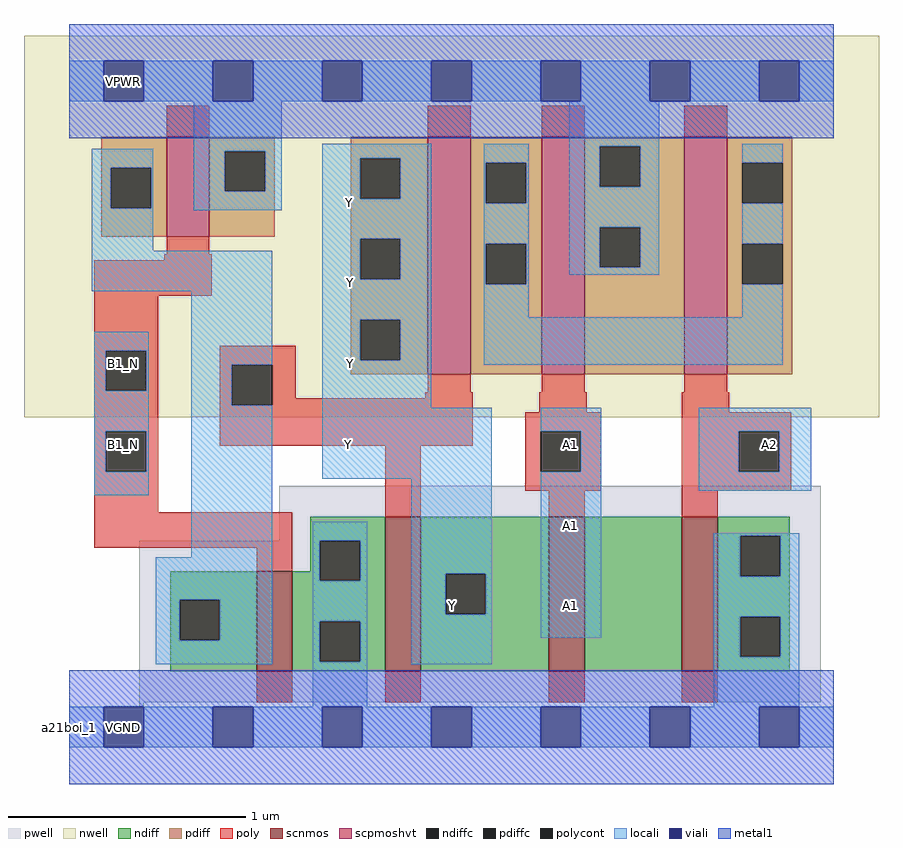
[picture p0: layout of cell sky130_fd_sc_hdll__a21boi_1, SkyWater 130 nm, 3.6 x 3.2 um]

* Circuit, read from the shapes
.subckt sky130_fd_sc_hdll__a21boi_1 A1 A2 B1_N VGND VNB VPB VPWR Y
XM1 VGND B1_N n1 VNB sky130_fd_pr__nfet_01v8 w=0.42 l=0.15
XM2 Y n1 VGND VNB sky130_fd_pr__nfet_01v8 w=0.65 l=0.15
XM3 n2 A1 Y VNB sky130_fd_pr__nfet_01v8 w=0.65 l=0.15
XM4 VGND A2 n2 VNB sky130_fd_pr__nfet_01v8 w=0.65 l=0.15
XM5 VPWR B1_N n1 VPB sky130_fd_pr__pfet_01v8_hvt w=0.42 l=0.18
XM6 n3 n1 Y VPB sky130_fd_pr__pfet_01v8_hvt w=1 l=0.18
XM7 VPWR A1 n3 VPB sky130_fd_pr__pfet_01v8_hvt w=1 l=0.18
XM8 n3 A2 VPWR VPB sky130_fd_pr__pfet_01v8_hvt w=1 l=0.18
.ends

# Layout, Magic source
magic
tech sky130A
magscale 1 2
<< nwell >>
rect -38 261 682 582
<< pwell >>
rect 177 157 633 203
rect 59 21 633 157
rect 59 17 63 21
rect 29 -17 63 17
<< scnmos >>
rect 158 47 188 131
rect 266 47 296 177
rect 404 47 434 177
rect 516 47 546 177
<< scpmoshvt >>
rect 82 413 118 497
rect 302 297 338 497
rect 398 297 434 497
rect 518 297 554 497
<< ndiff >>
rect 203 157 266 177
rect 203 131 211 157
rect 85 107 158 131
rect 85 73 93 107
rect 127 73 158 107
rect 85 47 158 73
rect 188 123 211 131
rect 245 123 266 157
rect 188 89 266 123
rect 188 55 211 89
rect 245 55 266 89
rect 188 47 266 55
rect 296 129 404 177
rect 296 95 317 129
rect 351 95 404 129
rect 296 47 404 95
rect 434 47 516 177
rect 546 161 607 177
rect 546 127 565 161
rect 599 127 607 161
rect 546 93 607 127
rect 546 59 565 93
rect 599 59 607 93
rect 546 47 607 59
<< pdiff >>
rect 27 471 82 497
rect 27 437 35 471
rect 69 437 82 471
rect 27 413 82 437
rect 118 485 173 497
rect 118 451 131 485
rect 165 451 173 485
rect 118 413 173 451
rect 237 479 302 497
rect 237 445 245 479
rect 279 445 302 479
rect 237 411 302 445
rect 237 377 245 411
rect 279 377 302 411
rect 237 343 302 377
rect 237 309 245 343
rect 279 309 302 343
rect 237 297 302 309
rect 338 475 398 497
rect 338 441 351 475
rect 385 441 398 475
rect 338 407 398 441
rect 338 373 351 407
rect 385 373 398 407
rect 338 297 398 373
rect 434 489 518 497
rect 434 455 447 489
rect 481 455 518 489
rect 434 421 518 455
rect 434 387 447 421
rect 481 387 518 421
rect 434 297 518 387
rect 554 475 609 497
rect 554 441 567 475
rect 601 441 609 475
rect 554 407 609 441
rect 554 373 567 407
rect 601 373 609 407
rect 554 297 609 373
<< ndiffc >>
rect 93 73 127 107
rect 211 123 245 157
rect 211 55 245 89
rect 317 95 351 129
rect 565 127 599 161
rect 565 59 599 93
<< pdiffc >>
rect 35 437 69 471
rect 131 451 165 485
rect 245 445 279 479
rect 245 377 279 411
rect 245 309 279 343
rect 351 441 385 475
rect 351 373 385 407
rect 447 455 481 489
rect 447 387 481 421
rect 567 441 601 475
rect 567 373 601 407
<< poly >>
rect 82 497 118 523
rect 302 497 338 523
rect 398 497 434 523
rect 518 497 554 523
rect 82 398 118 413
rect 80 393 120 398
rect 21 363 120 393
rect 21 317 75 363
rect 21 283 31 317
rect 65 283 75 317
rect 21 249 75 283
rect 21 215 31 249
rect 65 215 75 249
rect 127 305 191 321
rect 127 271 137 305
rect 171 277 191 305
rect 302 282 338 297
rect 398 282 434 297
rect 518 282 554 297
rect 300 277 340 282
rect 171 271 340 277
rect 127 237 340 271
rect 396 265 436 282
rect 516 265 556 282
rect 384 249 448 265
rect 21 181 75 215
rect 21 151 188 181
rect 266 177 296 237
rect 384 215 397 249
rect 431 215 448 249
rect 384 199 448 215
rect 516 249 608 265
rect 516 215 564 249
rect 598 215 608 249
rect 516 199 608 215
rect 404 177 434 199
rect 516 177 546 199
rect 158 131 188 151
rect 158 21 188 47
rect 266 21 296 47
rect 404 21 434 47
rect 516 21 546 47
<< polycont >>
rect 31 283 65 317
rect 31 215 65 249
rect 137 271 171 305
rect 397 215 431 249
rect 564 215 598 249
<< locali >>
rect 0 527 29 561
rect 63 527 121 561
rect 155 527 213 561
rect 247 527 305 561
rect 339 527 397 561
rect 431 527 489 561
rect 523 527 581 561
rect 615 527 644 561
rect 19 471 71 487
rect 19 437 35 471
rect 69 437 71 471
rect 19 401 71 437
rect 105 485 179 527
rect 105 451 131 485
rect 165 451 179 485
rect 105 435 179 451
rect 213 479 305 491
rect 213 445 245 479
rect 279 445 305 479
rect 213 411 305 445
rect 19 367 171 401
rect 21 317 67 333
rect 21 283 31 317
rect 65 283 67 317
rect 21 249 67 283
rect 21 215 31 249
rect 65 215 67 249
rect 21 195 67 215
rect 103 305 171 367
rect 103 271 137 305
rect 103 143 171 271
rect 213 377 245 411
rect 279 377 305 411
rect 213 343 305 377
rect 213 309 245 343
rect 279 309 305 343
rect 213 269 305 309
rect 349 475 387 491
rect 349 441 351 475
rect 385 441 387 475
rect 349 407 387 441
rect 349 373 351 407
rect 385 373 387 407
rect 421 489 497 527
rect 421 455 447 489
rect 481 455 497 489
rect 421 421 497 455
rect 421 387 447 421
rect 481 387 497 421
rect 421 381 497 387
rect 567 475 601 491
rect 567 407 601 441
rect 349 345 387 373
rect 567 345 601 373
rect 349 305 601 345
rect 213 209 356 269
rect 73 107 171 143
rect 73 73 93 107
rect 127 73 171 107
rect 73 53 171 73
rect 205 157 251 173
rect 205 123 211 157
rect 245 123 251 157
rect 205 89 251 123
rect 205 55 211 89
rect 245 55 251 89
rect 205 17 251 55
rect 288 129 356 209
rect 288 95 317 129
rect 351 95 356 129
rect 288 53 356 95
rect 397 249 448 269
rect 431 215 448 249
rect 397 75 448 215
rect 530 249 625 269
rect 530 215 564 249
rect 598 215 625 249
rect 530 199 625 215
rect 543 161 615 163
rect 543 127 565 161
rect 599 127 615 161
rect 543 93 615 127
rect 543 59 565 93
rect 599 59 615 93
rect 543 17 615 59
rect 0 -17 29 17
rect 63 -17 121 17
rect 155 -17 213 17
rect 247 -17 305 17
rect 339 -17 397 17
rect 431 -17 489 17
rect 523 -17 581 17
rect 615 -17 644 17
<< viali >>
rect 29 527 63 561
rect 121 527 155 561
rect 213 527 247 561
rect 305 527 339 561
rect 397 527 431 561
rect 489 527 523 561
rect 581 527 615 561
rect 29 -17 63 17
rect 121 -17 155 17
rect 213 -17 247 17
rect 305 -17 339 17
rect 397 -17 431 17
rect 489 -17 523 17
rect 581 -17 615 17
<< metal1 >>
rect 0 561 644 592
rect 0 527 29 561
rect 63 527 121 561
rect 155 527 213 561
rect 247 527 305 561
rect 339 527 397 561
rect 431 527 489 561
rect 523 527 581 561
rect 615 527 644 561
rect 0 496 644 527
rect 0 17 644 48
rect 0 -17 29 17
rect 63 -17 121 17
rect 155 -17 213 17
rect 247 -17 305 17
rect 339 -17 397 17
rect 431 -17 489 17
rect 523 -17 581 17
rect 615 -17 644 17
rect 0 -48 644 -17
<< labels >>
flabel locali s 306 85 340 119 0 FreeSans 200 0 0 0 Y
port 8 nsew signal output
flabel locali s 218 221 252 255 0 FreeSans 200 0 0 0 Y
port 8 nsew signal output
flabel locali s 405 221 439 255 0 FreeSans 200 0 0 0 A1
port 1 nsew signal input
flabel locali s 219 425 253 459 0 FreeSans 200 0 0 0 Y
port 8 nsew signal output
flabel locali s 220 289 254 323 0 FreeSans 200 0 0 0 Y
port 8 nsew signal output
flabel locali s 29 221 63 255 0 FreeSans 200 0 0 0 B1_N
port 3 nsew signal input
flabel locali s 220 357 254 391 0 FreeSans 200 0 0 0 Y
port 8 nsew signal output
flabel locali s 405 85 439 119 0 FreeSans 200 0 0 0 A1
port 1 nsew signal input
flabel locali s 573 221 607 255 0 FreeSans 200 0 0 0 A2
port 2 nsew signal input
flabel locali s 29 289 63 323 0 FreeSans 200 0 0 0 B1_N
port 3 nsew signal input
flabel locali s 405 153 439 187 0 FreeSans 200 0 0 0 A1
port 1 nsew signal input
flabel metal1 s 29 527 63 561 0 FreeSans 200 0 0 0 VPWR
port 7 nsew power bidirectional
flabel metal1 s 29 -17 63 17 0 FreeSans 200 0 0 0 VGND
port 4 nsew ground bidirectional
flabel nwell s 29 527 63 561 0 FreeSans 200 0 0 0 VPB
port 6 nsew power bidirectional
flabel pwell s 29 -17 63 17 0 FreeSans 200 0 0 0 VNB
port 5 nsew ground bidirectional
rlabel comment s 0 0 0 0 4 a21boi_1
<< properties >>
string LEFsite unithd
string LEFclass CORE
string FIXED_BBOX 0 0 644 544
string GDS_FILE $PDKPATH/libs.ref/sky130_fd_sc_hdll/gds/sky130_fd_sc_hdll.gds
string LEFsymmetry X Y R90
string GDS_END 1618636
string GDS_START 1612176
string LEFproperties maskLayoutSubType "abstract" prCellType "standard" originalViewName "layout"
<< end >>
